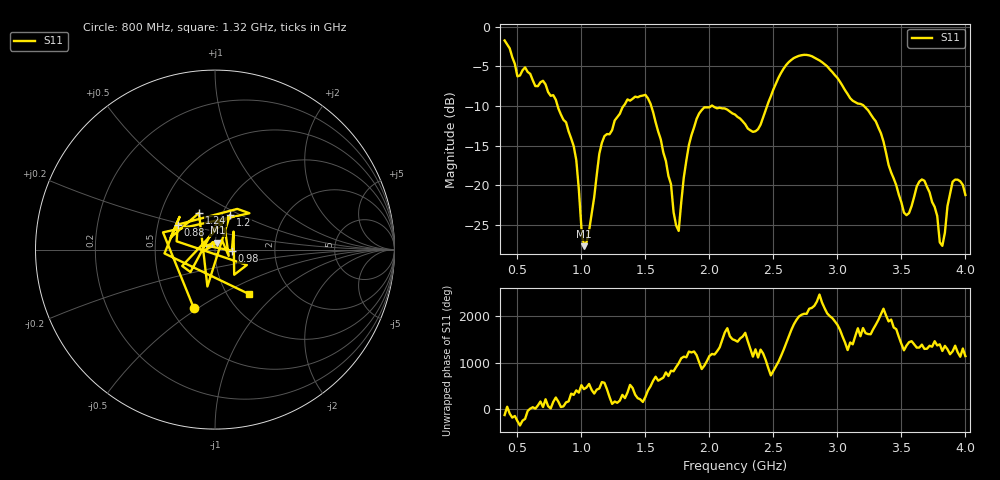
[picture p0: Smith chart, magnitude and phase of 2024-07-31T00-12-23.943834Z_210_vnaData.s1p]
!Created with skrf (http://scikit-rf.org).
# Hz S RI R 50.0
!freq ReS11 ImS11
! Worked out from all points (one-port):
!   181 points, 400 MHz to 4 GHz, reference 50 ohm
!   lowest |S11| = -27.7 dB at 1.02 GHz (marker M1), VSWR 1.09, Z = 51.2 + j4 ohm
!   |S11| at or under -10 dB: 814.4 MHz to 1.329 GHz (514.7 MHz wide, 48 % of centre); 1.545 GHz to 2.014 GHz (468.9 MHz wide, 26.3 % of centre); 3.208 GHz to end of sweep (the widest 3 of 4)
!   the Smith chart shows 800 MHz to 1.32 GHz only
!   S11 on the Smith chart (normalised r, x): 800 MHz: 0.65, -0.48; 880 MHz: 0.63, +0.19; 980 MHz: 1.21, -0.01; 1.2 GHz: 1.09, +0.44; 1.24 GHz: 0.77, +0.33; 1.32 GHz: 1.25, -0.68
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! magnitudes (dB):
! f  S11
! 400 MHz  -1.7
! 500 MHz  -6.2
! 800 MHz  -9.2
! 860 MHz  -11.7
! 880 MHz  -12.0
! 940 MHz  -15.1
! 980 MHz  -20.5
! 1.02 GHz  -27.7
! 1.14 GHz  -16.0
! 1.2 GHz  -13.5
! 1.24 GHz  -13.0
! 1.3 GHz  -11.0
! 1.32 GHz  -10.2
! 1.54 GHz  -9.7
! 1.76 GHz  -25.8
! 1.84 GHz  -14.9
! 1.92 GHz  -10.9
! 2.2 GHz  -11.1
! 2.38 GHz  -12.9
! 2.66 GHz  -3.9
! 2.88 GHz  -4.5
! 3.1 GHz  -9.0
! 3.3 GHz  -11.9
! 3.56 GHz  -23.5
! 3.68 GHz  -19.4
! 3.82 GHz  -27.7
! 3.9 GHz  -19.6
! 4 GHz  -21.2
